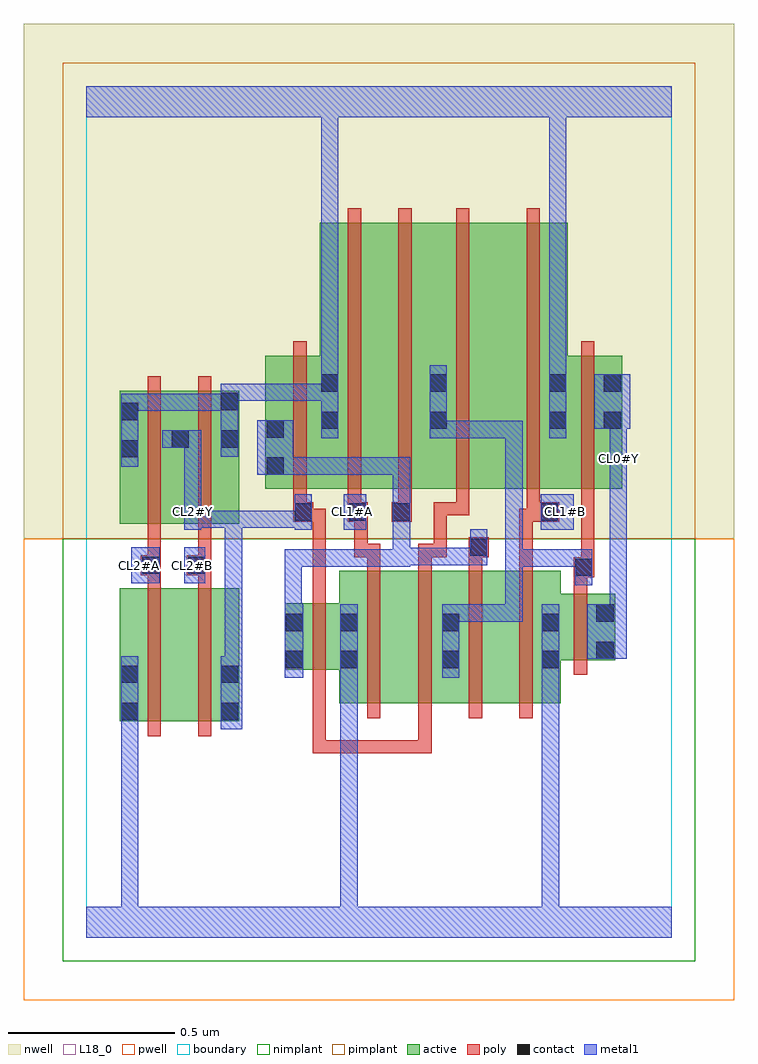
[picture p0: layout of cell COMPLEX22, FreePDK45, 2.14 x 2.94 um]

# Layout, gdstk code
import gdstk
lib = gdstk.Library(unit=1e-6, precision=1e-09)
def R(c, l, rs):  # rectangles x0, y0, x1, y1
    for r in rs: c.add(gdstk.rectangle(r[:2], r[2:], *l))
def A(c, l, x, y, w, h, nx, ny, dx, dy):  # array of equal rectangles
    R(c, l, [(x+i*dx, y+j*dy, x+i*dx+w, y+j*dy+h) for i in range(nx) for j in range(ny)])
active = (1, 0)
pwell = (2, 0)
nwell = (3, 0)
nimplant = (4, 0)
pimplant = (5, 0)
poly = (9, 0)
contact = (10, 0)
metal1 = (11, 0)
L18_0 = (18, 0)
boundary = (235, 0)

complex22 = lib.new_cell('COMPLEX22')
R(complex22, active, [(0.1,0.65,0.28,1.05), (0.1,0.65,0.16,1.05), (0.28,0.65,0.46,1.05), (0.4,0.65,0.46,1.05), (0.76,0.704,0.94,1.104), (0.94,0.704,1.126,1.104), (1.066,0.704,1.246,1.104), (1.246,0.704,1.426,1.104), (1.066,0.756,1.126,1.104), (0.596,0.806,0.656,1.006), (0.596,0.806,0.82,1.006), (0.76,0.806,0.82,1.006), (1.366,0.806,1.426,1.034), (1.366,0.834,1.59,1.034), (1.53,0.834,1.59,1.034), (0.1,1.244,0.16,1.644), (0.1,1.244,0.312,1.644), (0.252,1.244,0.312,1.644), (0.252,1.244,0.46,1.644), (0.4,1.244,0.46,1.644), (0.538,1.35,0.762,1.75), (0.538,1.35,0.598,1.644), (0.702,1.35,0.762,2.15), (0.702,1.35,0.882,2.15), (0.882,1.35,1.088,2.15), (1.028,1.35,1.25,2.15), (1.028,1.35,1.088,2.044), (1.25,1.35,1.448,2.15), (1.388,1.35,1.612,1.75), (1.388,1.35,1.448,2.15), (1.552,1.35,1.612,1.75)])
R(complex22, pwell, [(-0.188,-0.188,1.948,1.2)])
R(complex22, nwell, [(-0.188,1.2,1.948,2.748)])
R(complex22, nimplant, [(-0.072,-0.072,1.832,1.2)])
R(complex22, pimplant, [(-0.072,1.2,1.832,2.632)])
A(complex22, poly, 0.998, 0.66, 0.04, 0.488, 3, 1, 0.152, 0)
R(complex22, poly, [(0.68,0.554,0.72,0.594), (0.68,0.554,0.72,0.594), (0.68,0.554,0.72,0.594), (0.68,0.554,0.72,0.594), (0.68,0.554,0.72,0.594), (0.68,0.554,0.826,0.594), (0.68,0.554,0.72,0.802), (0.786,0.554,0.826,0.594), (0.786,0.554,0.826,0.594), (0.786,0.554,0.826,0.594), (0.786,0.554,0.978,0.594), (0.938,0.554,0.978,0.594), (0.938,0.554,1.038,0.594), (0.998,0.554,1.038,0.594), (0.998,0.554,1.038,0.7), (0.184,0.606,0.224,1.094), (0.336,0.606,0.376,1.094), (0.844,0.66,0.884,1.148), (0.68,0.762,0.72,1.05), (1.466,0.79,1.506,1.078), (0.68,1.01,0.72,1.29), (1.466,1.038,1.506,1.124), (0.184,1.054,0.224,1.13), (0.336,1.054,0.376,1.13), (1.466,1.084,1.528,1.144), (0.164,1.09,0.224,1.15), (0.184,1.09,0.224,1.13), (0.184,1.09,0.224,1.13), (0.302,1.09,0.376,1.15), (1.488,1.104,1.528,1.346), (1.488,1.104,1.528,1.144), (1.488,1.104,1.528,1.144), (0.844,1.108,0.884,1.184), (0.998,1.108,1.038,1.184), (1.15,1.108,1.19,1.184), (1.302,1.108,1.342,1.29), (0.184,1.11,0.224,1.24), (0.336,1.11,0.376,1.15), (0.336,1.11,0.376,1.15), (0.336,1.11,0.376,1.24), (0.806,1.144,0.846,1.29), (0.806,1.144,0.884,1.184), (0.998,1.144,1.038,1.184), (0.998,1.144,1.084,1.184), (1.044,1.144,1.084,1.184), (1.044,1.144,1.084,1.31), (1.15,1.144,1.21,1.204), (0.184,1.2,0.224,1.688), (0.336,1.2,0.376,1.688), (0.622,1.25,0.682,1.31), (0.642,1.25,0.682,1.29), (0.642,1.25,0.72,1.29), (0.786,1.25,0.846,1.31), (0.918,1.25,0.978,1.31), (1.302,1.25,1.364,1.29), (1.324,1.25,1.364,1.29), (1.324,1.25,1.422,1.31), (0.622,1.27,0.662,1.346), (0.786,1.27,0.826,1.346), (0.938,1.27,0.978,1.346), (1.044,1.27,1.084,1.31), (1.044,1.27,1.152,1.31), (1.112,1.27,1.152,1.31), (1.112,1.27,1.152,1.346), (1.324,1.27,1.364,1.346), (0.622,1.306,0.662,1.794), (0.786,1.306,0.826,2.194), (0.938,1.306,0.978,2.194), (1.112,1.306,1.152,2.194), (1.324,1.306,1.364,2.194), (1.488,1.306,1.528,1.794)])
R(complex22, contact, [(0.104,0.654,0.156,0.706), (0.404,0.654,0.456,0.706), (0.104,0.766,0.156,0.818), (0.404,0.766,0.456,0.818), (0.6,0.81,0.652,0.862), (0.764,0.81,0.816,0.862), (1.07,0.81,1.122,0.862), (1.37,0.81,1.422,0.862), (1.534,0.838,1.586,0.89), (0.6,0.922,0.652,0.974), (0.764,0.922,0.816,0.974), (1.07,0.922,1.122,0.974), (1.37,0.922,1.422,0.974), (1.534,0.95,1.586,1.002), (1.47,1.088,1.522,1.14), (0.168,1.094,0.22,1.146), (0.306,1.094,0.358,1.146), (1.154,1.148,1.206,1.2), (0.626,1.254,0.678,1.306), (0.79,1.254,0.842,1.306), (0.922,1.254,0.974,1.306), (1.366,1.254,1.418,1.306), (0.542,1.392,0.594,1.444), (0.104,1.444,0.156,1.496), (0.256,1.474,0.308,1.526), (0.404,1.474,0.456,1.526), (0.542,1.504,0.594,1.556), (0.706,1.53,0.758,1.582), (1.032,1.53,1.084,1.582), (1.392,1.53,1.444,1.582), (1.556,1.53,1.608,1.582), (0.104,1.556,0.156,1.608), (0.404,1.586,0.456,1.638), (0.706,1.642,0.758,1.694), (1.032,1.642,1.084,1.694), (1.392,1.642,1.444,1.694), (1.556,1.642,1.608,1.694)])
R(complex22, metal1, [(0,0,1.76,0.092), (0.104,0.04,0.156,0.092), (0.104,0.04,0.156,0.092), (0.104,0.04,0.156,0.092), (0.104,0.04,0.156,0.092), (0.104,0.04,0.156,0.092), (0.104,0.04,0.156,0.092), (0.104,0.04,0.156,0.092), (0.104,0.04,0.156,0.092), (0.104,0.04,0.156,0.092), (0.104,0.04,0.156,0.092), (0.104,0.04,0.156,0.092), (0.104,0.04,0.156,0.092), (0.104,0.04,0.156,0.678), (0.764,0.04,0.816,0.092), (0.764,0.04,0.816,0.092), (0.764,0.04,0.816,0.092), (0.764,0.04,0.816,0.092), (0.764,0.04,0.816,0.092), (0.764,0.04,0.816,0.092), (0.764,0.04,0.816,0.092), (0.764,0.04,0.816,0.092), (0.764,0.04,0.816,0.834), (1.37,0.04,1.422,0.092), (1.37,0.04,1.422,0.092), (1.37,0.04,1.422,0.092), (1.37,0.04,1.422,0.092), (1.37,0.04,1.422,0.092), (1.37,0.04,1.422,0.092), (1.37,0.04,1.422,0.092), (1.37,0.04,1.422,0.092), (1.37,0.04,1.422,0.834), (0.104,0.626,0.156,0.846), (0.404,0.626,0.468,0.846), (0.596,0.782,0.652,1.002), (0.764,0.782,0.816,0.834), (0.764,0.782,0.816,0.834), (0.764,0.782,0.816,0.834), (0.764,0.782,0.816,0.834), (0.764,0.782,0.816,1.002), (1.07,0.782,1.122,1.002), (1.37,0.782,1.422,0.834), (1.37,0.782,1.422,0.834), (1.37,0.782,1.422,0.834), (1.37,0.782,1.422,0.834), (1.37,0.782,1.422,1.002), (0.416,0.794,0.468,0.846), (0.416,0.794,0.468,0.846), (0.416,0.794,0.468,1.284), (1.506,0.838,1.626,1.002), (0.596,0.95,0.648,1.168), (1.07,0.95,1.302,1.002), (1.25,0.95,1.302,1.002), (1.25,0.95,1.312,1.002), (1.26,0.95,1.312,1.002), (1.26,0.95,1.312,1.168), (1.574,0.95,1.626,1.438), (1.47,1.06,1.522,1.168), (0.134,1.066,0.22,1.174), (0.294,1.066,0.358,1.174), (0.596,1.116,0.648,1.168), (0.596,1.116,0.648,1.168), (0.596,1.116,0.648,1.168), (0.596,1.116,0.864,1.168), (0.812,1.116,0.864,1.168), (0.812,1.116,0.864,1.168), (0.812,1.116,0.864,1.168), (0.812,1.116,0.974,1.168), (0.922,1.116,0.974,1.172), (1.26,1.116,1.312,1.168), (1.26,1.116,1.412,1.168), (1.26,1.116,1.312,1.554), (1.36,1.116,1.412,1.168), (1.36,1.116,1.422,1.168), (1.37,1.116,1.422,1.168), (1.37,1.116,1.522,1.168), (0.922,1.12,0.974,1.172), (0.922,1.12,0.974,1.172), (0.922,1.12,1.084,1.172), (0.922,1.12,0.974,1.334), (1.032,1.12,1.084,1.172), (1.032,1.12,1.206,1.172), (1.154,1.12,1.206,1.228), (0.294,1.226,0.346,1.334), (0.626,1.226,0.678,1.334), (0.774,1.226,0.842,1.334), (0.922,1.226,0.974,1.334), (1.366,1.226,1.466,1.334), (0.294,1.232,0.346,1.284), (0.294,1.232,0.346,1.284), (0.294,1.232,0.468,1.284), (0.416,1.232,0.468,1.284), (0.416,1.232,0.468,1.284), (0.416,1.232,0.468,1.284), (0.416,1.232,0.678,1.284), (0.294,1.282,0.346,1.526), (0.922,1.282,0.974,1.334), (0.922,1.282,0.974,1.334), (0.922,1.282,0.974,1.444), (1.574,1.386,1.626,1.494), (0.514,1.392,0.622,1.556), (0.57,1.392,0.622,1.444), (0.57,1.392,0.622,1.444), (0.57,1.392,0.758,1.444), (0.706,1.392,0.758,1.444), (0.706,1.392,0.758,1.444), (0.706,1.392,0.758,1.444), (0.706,1.392,0.974,1.444), (0.922,1.392,0.974,1.444), (0.104,1.416,0.156,1.636), (1.574,1.442,1.626,1.582), (0.404,1.446,0.456,1.666), (0.228,1.474,0.346,1.526), (0.706,1.502,0.758,1.722), (1.032,1.502,1.084,1.554), (1.032,1.502,1.084,1.554), (1.032,1.502,1.084,1.554), (1.032,1.502,1.084,1.554), (1.032,1.502,1.084,1.722), (1.032,1.502,1.312,1.554), (1.26,1.502,1.312,1.554), (1.392,1.502,1.444,1.722), (1.528,1.53,1.636,1.694), (1.574,1.53,1.626,1.582), (1.574,1.53,1.626,1.582), (0.104,1.584,0.156,1.636), (0.104,1.584,0.156,1.636), (0.104,1.584,0.346,1.636), (0.294,1.584,0.346,1.636), (0.294,1.584,0.346,1.636), (0.294,1.584,0.346,1.636), (0.294,1.584,0.456,1.636), (0.404,1.614,0.456,1.666), (0.404,1.614,0.456,1.666), (0.404,1.614,0.456,1.666), (0.404,1.614,0.456,1.666), (0.404,1.614,0.648,1.666), (0.596,1.614,0.648,1.666), (0.596,1.614,0.648,1.666), (0.596,1.614,0.648,1.666), (0.596,1.614,0.648,1.666), (0.596,1.614,0.648,1.666), (0.596,1.614,0.648,1.666), (0.596,1.614,0.648,1.666), (0.596,1.614,0.758,1.666), (0.706,1.67,0.758,1.722), (0.706,1.67,0.758,1.722), (0.706,1.67,0.758,1.722), (0.706,1.67,0.758,1.722), (0.706,1.67,0.758,1.722), (0.706,1.67,0.758,1.722), (0.706,1.67,0.758,2.52), (1.392,1.67,1.444,1.722), (1.392,1.67,1.444,1.722), (1.392,1.67,1.444,1.722), (1.392,1.67,1.444,1.722), (1.392,1.67,1.444,1.722), (1.392,1.67,1.444,1.722), (1.392,1.67,1.444,2.52), (0,2.468,1.76,2.56), (0.706,2.468,0.758,2.52), (0.706,2.468,0.758,2.52), (1.392,2.468,1.444,2.52), (1.392,2.468,1.444,2.52)])
R(complex22, L18_0, [(0,0,1.76,0.092), (0.104,0.04,0.156,0.092), (0.104,0.04,0.156,0.092), (0.104,0.04,0.156,0.092), (0.104,0.04,0.156,0.092), (0.104,0.04,0.156,0.092), (0.104,0.04,0.156,0.092), (0.104,0.04,0.156,0.092), (0.104,0.04,0.156,0.092), (0.104,0.04,0.156,0.092), (0.104,0.04,0.156,0.092), (0.104,0.04,0.156,0.092), (0.104,0.04,0.156,0.092), (0.104,0.04,0.156,0.678), (0.764,0.04,0.816,0.092), (0.764,0.04,0.816,0.092), (0.764,0.04,0.816,0.092), (0.764,0.04,0.816,0.092), (0.764,0.04,0.816,0.092), (0.764,0.04,0.816,0.092), (0.764,0.04,0.816,0.092), (0.764,0.04,0.816,0.092), (0.764,0.04,0.816,0.834), (1.37,0.04,1.422,0.092), (1.37,0.04,1.422,0.092), (1.37,0.04,1.422,0.092), (1.37,0.04,1.422,0.092), (1.37,0.04,1.422,0.092), (1.37,0.04,1.422,0.092), (1.37,0.04,1.422,0.092), (1.37,0.04,1.422,0.092), (1.37,0.04,1.422,0.834), (0.104,0.626,0.156,0.846), (0.404,0.626,0.468,0.846), (0.764,0.782,0.816,0.834), (0.764,0.782,0.816,0.834), (0.764,0.782,0.816,0.834), (0.764,0.782,0.816,0.834), (0.764,0.782,0.816,1.002), (1.37,0.782,1.422,0.834), (1.37,0.782,1.422,0.834), (1.37,0.782,1.422,0.834), (1.37,0.782,1.422,0.834), (1.37,0.782,1.422,1.002), (0.416,0.794,0.468,0.846), (0.416,0.794,0.468,0.846), (0.416,0.794,0.468,1.284), (1.506,0.838,1.626,1.002), (1.574,0.95,1.626,1.438), (0.134,1.066,0.22,1.174), (0.294,1.066,0.358,1.174), (0.134,1.094,0.186,1.146), (0.294,1.094,0.346,1.146), (0.294,1.226,0.346,1.334), (0.626,1.226,0.678,1.334), (0.774,1.226,0.842,1.334), (1.366,1.226,1.466,1.334), (0.294,1.232,0.346,1.284), (0.294,1.232,0.346,1.284), (0.294,1.232,0.468,1.284), (0.416,1.232,0.468,1.284), (0.416,1.232,0.468,1.284), (0.416,1.232,0.468,1.284), (0.416,1.232,0.678,1.284), (0.294,1.254,0.346,1.306), (0.774,1.254,0.826,1.306), (1.414,1.254,1.466,1.306), (0.294,1.282,0.346,1.526), (1.574,1.386,1.626,1.494), (1.574,1.414,1.626,1.466), (0.104,1.416,0.156,1.636), (1.574,1.442,1.626,1.582), (0.404,1.446,0.456,1.666), (0.228,1.474,0.346,1.526), (0.706,1.502,0.758,1.722), (1.392,1.502,1.444,1.722), (1.528,1.53,1.636,1.694), (1.574,1.53,1.626,1.582), (1.574,1.53,1.626,1.582), (0.104,1.584,0.156,1.636), (0.104,1.584,0.156,1.636), (0.104,1.584,0.346,1.636), (0.294,1.584,0.346,1.636), (0.294,1.584,0.346,1.636), (0.294,1.584,0.346,1.636), (0.294,1.584,0.456,1.636), (0.404,1.614,0.456,1.666), (0.404,1.614,0.456,1.666), (0.404,1.614,0.456,1.666), (0.404,1.614,0.456,1.666), (0.404,1.614,0.648,1.666), (0.596,1.614,0.648,1.666), (0.596,1.614,0.648,1.666), (0.596,1.614,0.648,1.666), (0.596,1.614,0.648,1.666), (0.596,1.614,0.648,1.666), (0.596,1.614,0.648,1.666), (0.596,1.614,0.648,1.666), (0.596,1.614,0.758,1.666), (0.706,1.67,0.758,1.722), (0.706,1.67,0.758,1.722), (0.706,1.67,0.758,1.722), (0.706,1.67,0.758,1.722), (0.706,1.67,0.758,1.722), (0.706,1.67,0.758,1.722), (0.706,1.67,0.758,2.52), (1.392,1.67,1.444,1.722), (1.392,1.67,1.444,1.722), (1.392,1.67,1.444,1.722), (1.392,1.67,1.444,1.722), (1.392,1.67,1.444,1.722), (1.392,1.67,1.444,1.722), (1.392,1.67,1.444,2.52), (0,2.468,1.76,2.56), (0.706,2.468,0.758,2.52), (0.706,2.468,0.758,2.52), (1.392,2.468,1.444,2.52), (1.392,2.468,1.444,2.52)])
R(complex22, boundary, [(0,0,1.76,2.56)])
complex22.add(gdstk.Label('CL0#Y', (1.6,1.44), layer=11, texttype=0))
complex22.add(gdstk.Label('CL1#A', (0.8,1.28), layer=11, texttype=0))
complex22.add(gdstk.Label('CL1#B', (1.44,1.28), layer=11, texttype=0))
complex22.add(gdstk.Label('CL2#A', (0.16,1.12), layer=11, texttype=0))
complex22.add(gdstk.Label('CL2#B', (0.32,1.12), layer=11, texttype=0))
complex22.add(gdstk.Label('CL2#Y', (0.32,1.28), layer=11, texttype=0))

lib.write_gds('COMPLEX22.gds')
